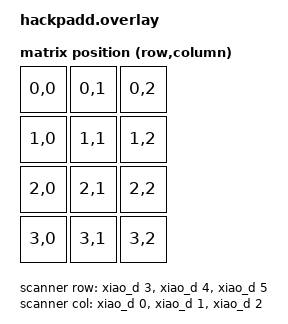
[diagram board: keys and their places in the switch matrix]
#include <dt-bindings/zmk/matrix_transform.h>

/ {
    chosen {
        zmk,kscan = &scanner;
        zmk,matrix_transform = &morpheus;
    };

    scanner: kscan {
        compatible = "zmk,kscan-gpio-matrix"; 
        diode-direction = "col2row";
        wakeup-source;
        col-gpios = <&xiao_d 0 GPIO_ACTIVE_HIGH>,
                    <&xiao_d 1 GPIO_ACTIVE_HIGH>,
                    <&xiao_d 2 GPIO_ACTIVE_HIGH>;
        row-gpios = <&xiao_d 3 (GPIO_ACTIVE_HIGH | GPIO_PULL_DOWN)>,
                    <&xiao_d 4 (GPIO_ACTIVE_HIGH | GPIO_PULL_DOWN)>,
                    <&xiao_d 5 (GPIO_ACTIVE_HIGH | GPIO_PULL_DOWN)>;
        
    };

    morpheus: keymap_transform_0 {
        compatible = "zmk,matrix-transform";
        columns = <3>;
        rows = <4>;
        map = <
            RC(0,0) RC(0,1) RC(0,2) 
            RC(1,0) RC(1,1) RC(1,2)
            RC(2,0) RC(2,1) RC(2,2)
            RC(3,0) RC(3,1) RC(3,2)
        >;
    };

    
    layoutless: physical_layout_0 {
        compatible = "zmk,physical-layout";
        display-name = "Default Layout";
    };

};
&layoutless {
    transform = <&morpheus>;
};
